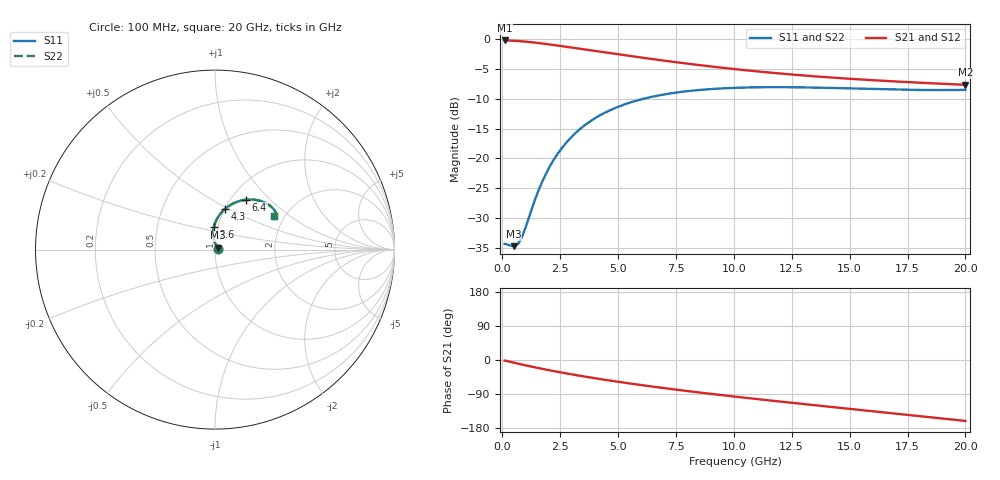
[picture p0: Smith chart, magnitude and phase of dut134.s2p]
! Created with skrf 1.9.0 (http://scikit-rf.org).
# GHz S RI R 50.0
!freq ReS11 ImS11 ReS21 ImS21 ReS12 ImS12 ReS22 ImS22
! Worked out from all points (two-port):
!   200 points, 100 MHz to 20 GHz, reference 50 ohm
!   highest |S21| = -0.17 dB at 100 MHz (marker M1); lowest = -7.6 dB at 20 GHz (marker M2)
!   |S21| within 3 dB of the highest: start of sweep to 6.243 GHz
!   lowest |S11| = -34.7 dB at 500 MHz (marker M3), VSWR 1.04, Z = 51.6 + j1.02 ohm
!   |S11| at or under -10 dB: start of sweep to 6.064 GHz
!   |S22| runs from -34.7 to -8.0 dB; largest |S21 - S12| = 2.5e-15
!   S11 on the Smith chart (normalised r, x): 100 MHz: 1.04, +0.00; 2.6 GHz: 0.96, +0.24; 4.3 GHz: 1.00, +0.48; 6.4 GHz: 1.17, +0.73; 20 GHz: 1.77, +0.76
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0.1  0.0191 0.00152  0.9802 -0.0244  0.9802 -0.0244  0.0191 0.00152
0.5  0.0154 0.0099  0.9672 -0.1213  0.9672 -0.1213  0.0154 0.0099
0.7  0.012 0.0152  0.9549 -0.1675  0.9549 -0.1675  0.012 0.0152
0.8  0.00998 0.0183  0.9474 -0.1899  0.9474 -0.1899  0.00998 0.0183
1  0.00566 0.0256  0.9302 -0.2329  0.9302 -0.2329  0.00566 0.0256
1.4  -0.00284 0.0443  0.8882 -0.3113  0.8882 -0.3113  -0.00284 0.0443
1.7  -0.00768 0.0618  0.8518 -0.3632  0.8518 -0.3632  -0.00768 0.0618
2.1  -0.0104 0.0884  0.7993 -0.4233  0.7993 -0.4233  -0.0104 0.0884
2.6  -0.00666 0.1241  0.7301 -0.4852  0.7301 -0.4852  -0.00666 0.1241
3  0.00217 0.1524  0.6738 -0.5253  0.6738 -0.5253  0.00217 0.1524
3.5  0.0195 0.1852  0.6036 -0.5655  0.6036 -0.5655  0.0195 0.1852
4.3  0.0573 0.228  0.4944 -0.61  0.4944 -0.61  0.0573 0.228
5.3  0.1129 0.2623  0.3668 -0.6384  0.3668 -0.6384  0.1129 0.2623
6.4  0.1734 0.2781  0.2411 -0.6439  0.2411 -0.6439  0.1734 0.2781
6.8  0.1936 0.2793  0.1994 -0.6408  0.1994 -0.6408  0.1936 0.2793
8.4  0.2612 0.2685  0.0537 -0.61  0.0537 -0.61  0.2612 0.2685
10.1  0.3082 0.2429  -0.0686 -0.5575  -0.0686 -0.5575  0.3082 0.2429
11.7  0.3328 0.2168  -0.1595 -0.4987  -0.1595 -0.4987  0.3328 0.2168
13.4  0.3434 0.1937  -0.2361 -0.4309  -0.2361 -0.4309  0.3434 0.1937
15  0.3438 0.1792  -0.2934 -0.3637  -0.2934 -0.3637  0.3438 0.1792
16.7  0.3387 0.1728  -0.3404 -0.2891  -0.3404 -0.2891  0.3387 0.1728
20  0.3283 0.1856  -0.3925 -0.1369  -0.3925 -0.1369  0.3283 0.1856
